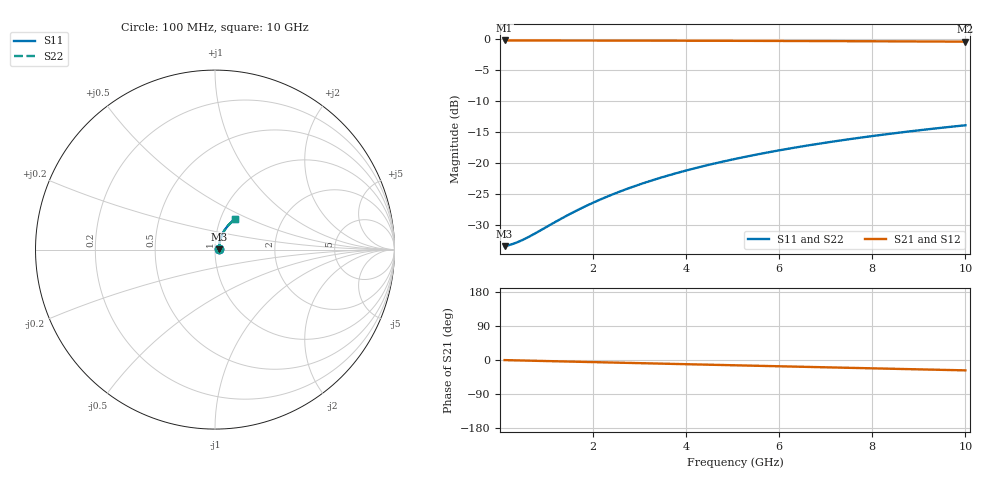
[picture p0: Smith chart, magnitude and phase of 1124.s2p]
# Hz S RI R 50.00
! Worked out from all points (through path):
!   100 points, 100 MHz to 10 GHz, reference 50 ohm
!   highest |S21| = -0.18 dB at 100 MHz (marker M1); lowest = -0.4 dB at 10 GHz (marker M2)
!   group delay of S21, straight-line fit = 7.61 ps
!   lowest |S11| = -33.5 dB at 100 MHz (marker M3), VSWR 1.04, Z = 52.1 + j0.21 ohm
!   |S11| at or under -10 dB: start of sweep to end of sweep
!   |S22| runs from -33.5 to -13.9 dB; largest |S21 - S12| = 0
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1e8  0.021 0.00201  0.979 -0.00474  0.979 -0.00474  0.021 0.00201
2e8  0.0212 0.00402  0.9788 -0.00948  0.9788 -0.00948  0.0212 0.00402
3e8  0.0213 0.00603  0.9786 -0.0142  0.9786 -0.0142  0.0213 0.00603
4e8  0.0215 0.00804  0.9784 -0.019  0.9784 -0.019  0.0215 0.00804
5e8  0.0216 0.01  0.9782 -0.0237  0.9782 -0.0237  0.0216 0.01
7e8  0.022 0.014  0.9778 -0.0332  0.9778 -0.0332  0.022 0.014
1.4e9  0.0237 0.028  0.9755 -0.0662  0.9755 -0.0662  0.0237 0.028
1.8e9  0.0251 0.0359  0.9737 -0.085  0.9737 -0.085  0.0251 0.0359
2.2e9  0.0267 0.0437  0.9714 -0.1038  0.9714 -0.1038  0.0267 0.0437
2.6e9  0.0287 0.0515  0.9687 -0.1224  0.9687 -0.1224  0.0287 0.0515
3e9  0.0309 0.0592  0.9656 -0.141  0.9656 -0.141  0.0309 0.0592
3.4e9  0.0335 0.0667  0.9621 -0.1595  0.9621 -0.1595  0.0335 0.0667
3.8e9  0.0363 0.0742  0.9582 -0.1779  0.9582 -0.1779  0.0363 0.0742
4.2e9  0.0394 0.0815  0.9539 -0.1961  0.9539 -0.1961  0.0394 0.0815
4.6e9  0.0427 0.0887  0.9492 -0.2142  0.9492 -0.2142  0.0427 0.0887
5.1e9  0.0473 0.0975  0.9427 -0.2366  0.9427 -0.2366  0.0473 0.0975
5.9e9  0.0555 0.1111  0.9312 -0.272  0.9312 -0.272  0.0555 0.1111
6.7e9  0.0647 0.1239  0.9182 -0.3066  0.9182 -0.3066  0.0647 0.1239
7.5e9  0.0747 0.136  0.9038 -0.3403  0.9038 -0.3403  0.0747 0.136
8.4e9  0.0871 0.1485  0.8859 -0.3773  0.8859 -0.3773  0.0871 0.1485
9.2e9  0.0988 0.1586  0.8688 -0.4091  0.8688 -0.4091  0.0988 0.1586
1e10  0.1113 0.1678  0.8504 -0.44  0.8504 -0.44  0.1113 0.1678
